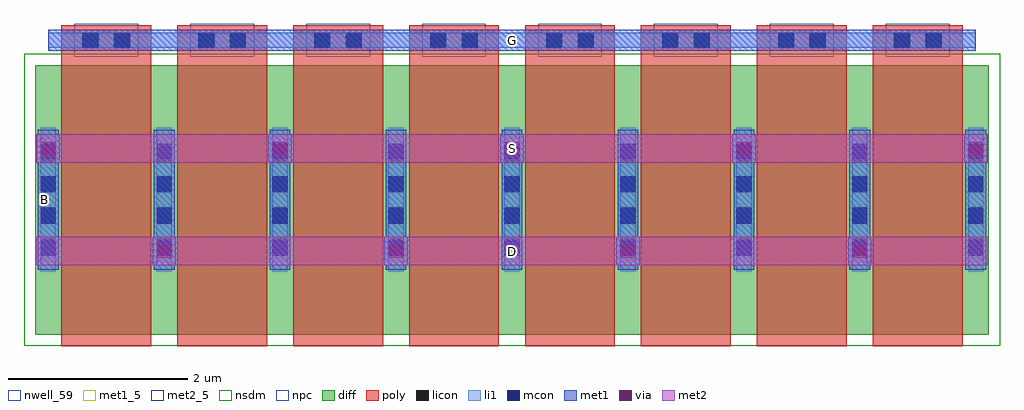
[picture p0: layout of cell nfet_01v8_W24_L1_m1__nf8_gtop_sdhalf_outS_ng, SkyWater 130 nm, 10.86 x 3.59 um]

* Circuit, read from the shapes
.subckt nfet_01v8_W24_L1_m1__nf8_gtop_sdhalf_outS_ng B D G S
XM1 D G S B sky130_fd_pr__nfet_01v8 w=3 l=1 m=8
.ends

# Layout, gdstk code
import gdstk
lib = gdstk.Library(unit=1e-6, precision=1e-09)
def R(c, l, rs):  # rectangles x0, y0, x1, y1
    for r in rs: c.add(gdstk.rectangle(r[:2], r[2:], *l))
def A(c, l, x, y, w, h, nx, ny, dx, dy):  # array of equal rectangles
    R(c, l, [(x+i*dx, y+j*dy, x+i*dx+w, y+j*dy+h) for i in range(nx) for j in range(ny)])
nwell_59 = (64, 59)
diff = (65, 20)
poly = (66, 20)
licon = (66, 44)
li1 = (67, 20)
mcon = (67, 44)
met1_5 = (68, 5)
met1 = (68, 20)
via = (68, 44)
met2_5 = (69, 5)
met2 = (69, 20)
nsdm = (93, 44)
npc = (95, 20)

sky130_fd_pr__nfet_01v8_ = lib.new_cell('sky130_fd_pr__nfet_01v8_CSQSJS')
R(sky130_fd_pr__nfet_01v8_, diff, [(-5.305,-1.655,5.305,1.345)])
A(sky130_fd_pr__nfet_01v8_, poly, -5.015, -1.785, 1, 3.57, 8, 1, 1.29, 0)
A(sky130_fd_pr__nfet_01v8_, licon, -5.245, -0.75, 0.17, 0.17, 9, 4, 1.29, 0.34)
R(sky130_fd_pr__nfet_01v8_, licon, [(-4.77,1.535,-4.6,1.705), (-4.43,1.535,-4.26,1.705), (-3.48,1.535,-3.31,1.705), (-3.14,1.535,-2.97,1.705), (-2.19,1.535,-2.02,1.705), (-1.85,1.535,-1.68,1.705), (-0.9,1.535,-0.73,1.705), (-0.56,1.535,-0.39,1.705), (0.39,1.535,0.56,1.705), (0.73,1.535,0.9,1.705), (1.68,1.535,1.85,1.705), (2.02,1.535,2.19,1.705), (2.97,1.535,3.14,1.705), (3.31,1.535,3.48,1.705), (4.26,1.535,4.43,1.705), (4.6,1.535,4.77,1.705)])
A(sky130_fd_pr__nfet_01v8_, li1, -5.245, -0.955, 0.17, 1.6, 9, 1, 1.29, 0)
R(sky130_fd_pr__nfet_01v8_, li1, [(-5.16,1.535,5.16,1.705)])
A(sky130_fd_pr__nfet_01v8_, mcon, -5.245, -0.78, 0.17, 0.17, 9, 4, 1.29, 0.36)
R(sky130_fd_pr__nfet_01v8_, mcon, [(-4.78,1.535,-4.61,1.705), (-4.42,1.535,-4.25,1.705), (-3.49,1.535,-3.32,1.705), (-3.13,1.535,-2.96,1.705), (-2.2,1.535,-2.03,1.705), (-1.84,1.535,-1.67,1.705), (-0.91,1.535,-0.74,1.705), (-0.55,1.535,-0.38,1.705), (0.38,1.535,0.55,1.705), (0.74,1.535,0.91,1.705), (1.67,1.535,1.84,1.705), (2.03,1.535,2.2,1.705), (2.96,1.535,3.13,1.705), (3.32,1.535,3.49,1.705), (4.25,1.535,4.42,1.705), (4.61,1.535,4.78,1.705)])
A(sky130_fd_pr__nfet_01v8_, met1, -5.275, -0.935, 0.23, 1.56, 9, 1, 1.29, 0)
A(sky130_fd_pr__nfet_01v8_, met1, -4.995, 1.505, 0.96, 0.03, 8, 2, 1.29, 0.2)
R(sky130_fd_pr__nfet_01v8_, met1, [(-5.16,1.535,5.16,1.705)])
R(sky130_fd_pr__nfet_01v8_, nsdm, [(-5.43,-1.78,5.43,1.47)])
A(sky130_fd_pr__nfet_01v8_, npc, -4.87, 1.435, 0.71, 0.37, 8, 1, 1.29, 0)
sky130_fd_pr__nfet_01v8_.add(gdstk.Label('D0', (-5.16,-0.155), layer=67, texttype=5))
sky130_fd_pr__nfet_01v8_.add(gdstk.Label('G', (4.515,1.62), layer=67, texttype=5))
sky130_fd_pr__nfet_01v8_.add(gdstk.Label('G', (3.225,1.62), layer=67, texttype=5))
sky130_fd_pr__nfet_01v8_.add(gdstk.Label('G', (1.935,1.62), layer=67, texttype=5))
sky130_fd_pr__nfet_01v8_.add(gdstk.Label('G', (0.645,1.62), layer=67, texttype=5))
sky130_fd_pr__nfet_01v8_.add(gdstk.Label('G', (-0.645,1.62), layer=67, texttype=5))
sky130_fd_pr__nfet_01v8_.add(gdstk.Label('G', (-1.935,1.62), layer=67, texttype=5))
sky130_fd_pr__nfet_01v8_.add(gdstk.Label('G', (-3.225,1.62), layer=67, texttype=5))
sky130_fd_pr__nfet_01v8_.add(gdstk.Label('G', (-4.515,1.62), layer=67, texttype=5))
sky130_fd_pr__nfet_01v8_.add(gdstk.Label('S1', (-3.87,-0.155), layer=67, texttype=5))
sky130_fd_pr__nfet_01v8_.add(gdstk.Label('D2', (-2.58,-0.155), layer=67, texttype=5))
sky130_fd_pr__nfet_01v8_.add(gdstk.Label('S3', (-1.29,-0.155), layer=67, texttype=5))
sky130_fd_pr__nfet_01v8_.add(gdstk.Label('D4', (0,-0.155), layer=67, texttype=5))
sky130_fd_pr__nfet_01v8_.add(gdstk.Label('S5', (1.29,-0.155), layer=67, texttype=5))
sky130_fd_pr__nfet_01v8_.add(gdstk.Label('D6', (2.58,-0.155), layer=67, texttype=5))
sky130_fd_pr__nfet_01v8_.add(gdstk.Label('S7', (3.87,-0.155), layer=67, texttype=5))

nfet_01v8_w24_l1_m1__nf8 = lib.new_cell('nfet_01v8_W24_L1_m1__nf8_gtop_sdhalf_outS_ng')
R(nfet_01v8_w24_l1_m1__nf8, nwell_59, [(0.05,1.58,0.15,1.68)])
R(nfet_01v8_w24_l1_m1__nf8, met1_5, [(0.145,3.29,10.465,3.52)])
A(nfet_01v8_w24_l1_m1__nf8, met1, 1.305, 0.9, 0.26, 0.32, 4, 1, 2.58, 0)
A(nfet_01v8_w24_l1_m1__nf8, met1, 0.015, 2.04, 0.26, 0.32, 5, 1, 2.58, 0)
R(nfet_01v8_w24_l1_m1__nf8, met1, [(0.145,3.29,10.465,3.52)])
A(nfet_01v8_w24_l1_m1__nf8, via, 1.36, 0.985, 0.15, 0.15, 4, 1, 2.58, 0)
A(nfet_01v8_w24_l1_m1__nf8, via, 0.07, 2.125, 0.15, 0.15, 5, 1, 2.58, 0)
R(nfet_01v8_w24_l1_m1__nf8, met2_5, [(0.01,0.9,10.6,1.22), (0.01,2.04,10.6,2.36)])
R(nfet_01v8_w24_l1_m1__nf8, met2, [(0.01,0.9,10.6,1.22), (0.01,2.04,10.6,2.36)])
nfet_01v8_w24_l1_m1__nf8.add(gdstk.Reference(sky130_fd_pr__nfet_01v8_, (5.305,1.785)))
nfet_01v8_w24_l1_m1__nf8.add(gdstk.Label('S', (5.305,2.2), layer=69, texttype=5))
nfet_01v8_w24_l1_m1__nf8.add(gdstk.Label('D', (5.305,1.06), layer=69, texttype=5))
nfet_01v8_w24_l1_m1__nf8.add(gdstk.Label('G', (5.305,3.405), layer=68, texttype=5))
nfet_01v8_w24_l1_m1__nf8.add(gdstk.Label('B', (0.1,1.63), layer=64, texttype=59))

lib.write_gds('nfet_01v8_W24_L1_m1__nf8_gtop_sdhalf_outS_ng.gds')
